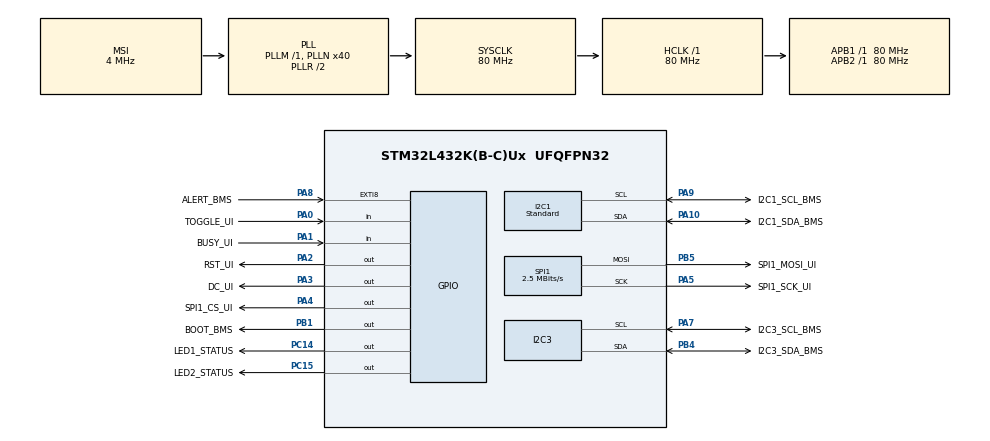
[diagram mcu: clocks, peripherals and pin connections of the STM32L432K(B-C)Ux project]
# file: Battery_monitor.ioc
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I2C1.I2C_Speed_Mode=I2C_Standard
I2C1.OwnAddress=0x08
I2C1.Timing=0x10909CEC
I2C3.Timing=0x10909CEC
Mcu.Family=STM32L4
Mcu.Name=STM32L432K(B-C)Ux
Mcu.Package=UFQFPN32
NVIC.PriorityGroup=NVIC_PRIORITYGROUP_4
NVIC.RTC_WKUP_IRQn=true\:0\:0\:false\:false\:true\:true\:true\:true
PA0.GPIO_Label=TOGGLE_UI
PA0.Signal=GPIO_Input
PA1.GPIO_Label=BUSY_UI
PA1.Signal=GPIO_Input
PA10.GPIO_Label=I2C1_SDA_BMS
PA10.Mode=I2C
PA10.Signal=I2C1_SDA
PA13\ (JTMS-SWDIO).Mode=Trace_Asynchronous_SW
PA13\ (JTMS-SWDIO).Signal=SYS_JTMS-SWDIO
PA14\ (JTCK-SWCLK).Mode=Trace_Asynchronous_SW
PA14\ (JTCK-SWCLK).Signal=SYS_JTCK-SWCLK
PA2.GPIO_Label=RST_UI
PA2.Signal=GPIO_Output
PA3.GPIO_Label=DC_UI
PA3.Signal=GPIO_Output
PA4.GPIO_Label=SPI1_CS_UI
PA4.Signal=GPIO_Output
PA5.GPIO_Label=SPI1_SCK_UI
PA5.GPIO_Mode=GPIO_MODE_AF_PP
PA5.GPIO_Speed=GPIO_SPEED_FREQ_HIGH
PA5.Mode=TX_Only_Simplex_Unidirect_Master
PA5.Signal=SPI1_SCK
PA7.GPIO_Label=I2C3_SCL_BMS
PA7.Mode=I2C
PA7.Signal=I2C3_SCL
PA8.GPIO_Label=ALERT_BMS
PA8.Signal=GPXTI8
PA9.GPIO_Label=I2C1_SCL_BMS
PA9.Mode=I2C
PA9.Signal=I2C1_SCL
PB1.GPIO_Label=BOOT_BMS
PB1.Signal=GPIO_Output
PB3\ (JTDO-TRACESWO).Mode=Trace_Asynchronous_SW
PB3\ (JTDO-TRACESWO).Signal=SYS_JTDO-SWO
PB4\ (NJTRST).GPIO_Label=I2C3_SDA_BMS
PB4\ (NJTRST).Mode=I2C
PB4\ (NJTRST).Signal=I2C3_SDA
PB5.GPIO_Label=SPI1_MOSI_UI
PB5.GPIO_Speed=GPIO_SPEED_FREQ_HIGH
PB5.Mode=TX_Only_Simplex_Unidirect_Master
PB5.Signal=SPI1_MOSI
PC14-OSC32_IN\ (PC14).GPIO_Label=LED1_STATUS
PC14-OSC32_IN\ (PC14).Signal=GPIO_Output
PC15-OSC32_OUT\ (PC15).GPIO_Label=LED2_STATUS
PC15-OSC32_OUT\ (PC15).Signal=GPIO_Output
ProjectManager.HeapSize=0x200
ProjectManager.StackSize=0x400
ProjectManager.TargetToolchain=STM32CubeIDE
RCC.ADCFreq_Value=48000000
RCC.AHBFreq_Value=80000000
RCC.APB1Freq_Value=80000000
RCC.APB1TimFreq_Value=80000000
RCC.APB2Freq_Value=80000000
RCC.APB2TimFreq_Value=80000000
RCC.CortexFreq_Value=80000000
RCC.HCLKFreq_Value=80000000
RCC.HSE_VALUE=16000000
RCC.HSI48_VALUE=48000000
RCC.HSI_VALUE=16000000
RCC.LSE_VALUE=32768
RCC.MSI_VALUE=4000000
RCC.PLLN=40
RCC.PLLSAI1N=24
RCC.SYSCLKFreq_VALUE=80000000
RCC.SYSCLKSource=RCC_SYSCLKSOURCE_PLLCLK
RCC.USBFreq_Value=48000000
RCC.VCOOutputFreq_Value=160000000
RTC.WakeUpCounter=0x4E20
SPI1.BaudRatePrescaler=SPI_BAUDRATEPRESCALER_32
SPI1.CalculateBaudRate=2.5 MBits/s
SPI1.DataSize=SPI_DATASIZE_8BIT
SPI1.Direction=SPI_DIRECTION_2LINES
SPI1.Mode=SPI_MODE_MASTER
SPI1.NSSPMode=SPI_NSS_PULSE_DISABLE
SPI1.VirtualType=VM_MASTER
VP_RTC_VS_RTC_Activate.Mode=RTC_Enabled
VP_RTC_VS_RTC_WakeUp_intern.Mode=WakeUp
board=custom

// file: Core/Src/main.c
/* USER CODE BEGIN Header */
/**
  ******************************************************************************
  * @file           : main.c
  * @brief          : Main program body
  ******************************************************************************
  * @attention
  *
  * Copyright (c) 2022 STMicroelectronics.
  * All rights reserved.
  *
  * This software is licensed under terms that can be found in the LICENSE file
  * in the root directory of this software component.
  * If no LICENSE file comes with this software, it is provided AS-IS.
  *
  ******************************************************************************
  */
/* USER CODE END Header */
#include "main.h"

/* USER CODE BEGIN Includes */
#include "EPD_2in66.h"
#include "GUI_Paint.h"
#include <math.h>
#include <stdio.h>
#include <string.h>
/* USER CODE END Includes */

I2C_HandleTypeDef hi2c1;
I2C_HandleTypeDef hi2c3;

RTC_HandleTypeDef hrtc;

SPI_HandleTypeDef hspi1;

/* USER CODE BEGIN PV */
static const uint8_t BQ76940_ADDR = 0x08<<1;//BMS temp address
static const uint8_t SYS_STAT_REG = 0x00;	//SYS_STAT register
static const uint8_t SYS_CTRL1_REG = 0x04;	//SYS_CTRL1 register
static const uint8_t SYS_CTRL2_REG = 0x05;	//SYS_CTRL2 register
static const uint8_t VC1_HI_REG = 0x0C;	//Needed to start the for() sequence later.
static const uint8_t VC1_LO_REG = 0x0D;	//Needed to start the for() sequence later.
//static const uint8_t VC2_HI = 0x0E;
//static const uint8_t VC2_LO = 0x0F;
//static const uint8_t VC3_HI = 0x10;
//static const uint8_t VC3_LO = 0x11;
//static const uint8_t VC5_HI = 0x14;
//static const uint8_t VC5_LO = 0x15;
//static const uint8_t VC6_HI = 0x16;
//static const uint8_t VC6_LO = 0x17;
//static const uint8_t VC7_HI = 0x18;
//static const uint8_t VC7_LO = 0x19;
//static const uint8_t VC8_HI = 0x1A;
//static const uint8_t VC8_LO = 0x1B;
//static const uint8_t VC10_HI = 0x1E;
//static const uint8_t VC10_LO = 0x1F;
//static const uint8_t VC11_HI = 0x20;
//static const uint8_t VC11_LO = 0x21;
//static const uint8_t VC12_HI = 0x22;
//static const uint8_t VC12_LO = 0x23;
//static const uint8_t VC13_HI = 0x24;
//static const uint8_t VC13_LO = 0x25;
//static const uint8_t VC15_HI = 0x28;
//static const uint8_t VC15_LO = 0x29;
static const uint8_t TS1_HI_REG = 0x2C;		//TS1 register
static const uint8_t TS1_LO_REG = 0x2D;		//TS1 register
static const uint8_t CC_HI_REG = 0x32;		//CC register
static const uint8_t CC_LO_REG = 0x33;		//CC register
static const uint8_t ADCGAIN_REG = 0x50; 	//ADC gain register
static const uint8_t ADCOFFSET_REG = 0x51; 	//ADC offset register

HAL_StatusTypeDef ret;

/* USER CODE END PV */

void SystemClock_Config(void);
static void MX_GPIO_Init(void);
static void MX_I2C1_Init(void);
static void MX_SPI1_Init(void);
static void MX_I2C3_Init(void);
static void MX_RTC_Init(void);
/* USER CODE BEGIN PFP */
float BQ76940_get_cc_current(uint8_t cc_reg_hi, uint8_t cc_reg_lo);
int BQ76940_get_cell_voltage(uint8_t cell_reg_hi, uint8_t cell_reg_lo);
float BQ76940_get_temp(uint8_t temp_reg_hi, uint8_t temp_reg_lo);
void BQ76940_set_register(uint8_t reg, uint8_t reg_val);
void BQ76940_get_register(uint8_t reg, uint8_t* buf);
void BQ76940_get_HILO_register(uint8_t reg, uint8_t* buf);
void BQ76940_SHIPMODE(uint8_t reg1);
/* USER CODE END PFP */

int main(void)
{
  /* USER CODE BEGIN 1 */
	uint8_t buf_ADC_gain[8], buf_ADC_offset[8], buf_cell_volt[64];
//	uint16_t temp_res, temp;
//	float pack_current;
	float pack_voltage;
  /* USER CODE END 1 */

  /* MCU Configuration--------------------------------------------------------*/

  /* Reset of all peripherals, Initializes the Flash interface and the Systick. */
  HAL_Init();

  /* Configure the system clock */
  SystemClock_Config();

  /* Initialize all configured peripherals */
  MX_GPIO_Init();
  MX_I2C1_Init();
  MX_SPI1_Init();
  MX_I2C3_Init();
  MX_RTC_Init();
  /* USER CODE BEGIN 2 */

  //Function needed for checking fail-state registers.
  BQ76940_get_register(ADCGAIN_REG, buf_ADC_gain);
  BQ76940_get_register(ADCOFFSET_REG, buf_ADC_offset);
  BQ76940_set_register(SYS_CTRL1_REG, 0x08);	//Enable temperature measurements (TEMP_SEL = 1)
  BQ76940_set_register(SYS_CTRL2_REG, 0x40);	//Enable CC ALWAYS ON mode (CC_EN = 1)
  HAL_GPIO_WritePin(GPIOA, GPIO_PIN_4, GPIO_PIN_SET);	//Set SPI CS pin high
  EPD_2IN66_Init();	//Initialize the E-paper display
  EPD_2IN66_Clear();
  buf_ADC_gain[0] = (buf_ADC_gain[0]*(10*exp(-6)));
  buf_ADC_offset[0] = (buf_ADC_offset[0]*(10*exp(-3)));

  /* USER CODE END 2 */

  /* Infinite loop */
  /* USER CODE BEGIN WHILE */
  while (1)
  {
	  //Get each cell reading from their respective registers and store the voltage according to ADC gain and offset.
	  for(size_t i = 0; i<16; i++)
	  {
		  buf_cell_volt[i] = BQ76940_get_cell_voltage(VC1_HI_REG + (i*2), VC1_LO_REG + (i*2));
		  buf_cell_volt[i] = ((buf_ADC_gain[0] * buf_cell_volt[i])+buf_ADC_offset[0]);
	  }

	  //calculate pack total voltage from individual cell voltages
	  for(size_t i = 0; i<15; i++)
	  {
		  pack_voltage += buf_cell_volt[i];
	  }

	  //get the equivalent temperature resistance value
	  uint16_t temp_res = BQ76940_get_temp(TS1_HI_REG, TS1_LO_REG);
	  uint16_t temp = ((-26.38*log(temp_res)) + 91.798);	//see excel sheet "NTC103AT_temp_res_correlation" in Oliver/3-Documentation/3-BMS_docs
	  printf("temp: %d\n", temp);

	  float pack_current = BQ76940_get_cc_current(CC_HI_REG, CC_LO_REG);
	  printf("pack current: %d", (uint16_t)pack_current);
    /* USER CODE END WHILE */

  }
}

void SystemClock_Config(void)
{
  RCC_OscInitTypeDef RCC_OscInitStruct = {0};
  RCC_ClkInitTypeDef RCC_ClkInitStruct = {0};

  /** Configure the main internal regulator output voltage
  */
  if (HAL_PWREx_ControlVoltageScaling(PWR_REGULATOR_VOLTAGE_SCALE1) != HAL_OK)
  {
    Error_Handler();
  }

  /** Initializes the RCC Oscillators according to the specified parameters
  * in the RCC_OscInitTypeDef structure.
  */
  RCC_OscInitStruct.OscillatorType = RCC_OSCILLATORTYPE_LSI|RCC_OSCILLATORTYPE_MSI;
  RCC_OscInitStruct.LSIState = RCC_LSI_ON;
  RCC_OscInitStruct.MSIState = RCC_MSI_ON;
  RCC_OscInitStruct.MSICalibrationValue = 0;
  RCC_OscInitStruct.MSIClockRange = RCC_MSIRANGE_6;
  RCC_OscInitStruct.PLL.PLLState = RCC_PLL_ON;
  RCC_OscInitStruct.PLL.PLLSource = RCC_PLLSOURCE_MSI;
  RCC_OscInitStruct.PLL.PLLM = 1;
  RCC_OscInitStruct.PLL.PLLN = 40;
  RCC_OscInitStruct.PLL.PLLP = RCC_PLLP_DIV7;
  RCC_OscInitStruct.PLL.PLLQ = RCC_PLLQ_DIV2;
  RCC_OscInitStruct.PLL.PLLR = RCC_PLLR_DIV2;
  if (HAL_RCC_OscConfig(&RCC_OscInitStruct) != HAL_OK)
  {
    Error_Handler();
  }

  /** Initializes the CPU, AHB and APB buses clocks
  */
  RCC_ClkInitStruct.ClockType = RCC_CLOCKTYPE_HCLK|RCC_CLOCKTYPE_SYSCLK
                              |RCC_CLOCKTYPE_PCLK1|RCC_CLOCKTYPE_PCLK2;
  RCC_ClkInitStruct.SYSCLKSource = RCC_SYSCLKSOURCE_PLLCLK;
  RCC_ClkInitStruct.AHBCLKDivider = RCC_SYSCLK_DIV1;
  RCC_ClkInitStruct.APB1CLKDivider = RCC_HCLK_DIV1;
  RCC_ClkInitStruct.APB2CLKDivider = RCC_HCLK_DIV1;

  if (HAL_RCC_ClockConfig(&RCC_ClkInitStruct, FLASH_LATENCY_4) != HAL_OK)
  {
    Error_Handler();
  }
}

static void MX_I2C1_Init(void)
{

  hi2c1.Instance = I2C1;
  hi2c1.Init.Timing = 0x10909CEC;
  hi2c1.Init.OwnAddress1 = 16;
  hi2c1.Init.AddressingMode = I2C_ADDRESSINGMODE_7BIT;
  hi2c1.Init.DualAddressMode = I2C_DUALADDRESS_DISABLE;
  hi2c1.Init.OwnAddress2 = 0;
  hi2c1.Init.OwnAddress2Masks = I2C_OA2_NOMASK;
  hi2c1.Init.GeneralCallMode = I2C_GENERALCALL_DISABLE;
  hi2c1.Init.NoStretchMode = I2C_NOSTRETCH_DISABLE;
  if (HAL_I2C_Init(&hi2c1) != HAL_OK)
  {
    Error_Handler();
  }

  /** Configure Analogue filter
  */
  if (HAL_I2CEx_ConfigAnalogFilter(&hi2c1, I2C_ANALOGFILTER_ENABLE) != HAL_OK)
  {
    Error_Handler();
  }

  /** Configure Digital filter
  */
  if (HAL_I2CEx_ConfigDigitalFilter(&hi2c1, 0) != HAL_OK)
  {
    Error_Handler();
  }

}

static void MX_I2C3_Init(void)
{

  hi2c3.Instance = I2C3;
  hi2c3.Init.Timing = 0x10909CEC;
  hi2c3.Init.OwnAddress1 = 0;
  hi2c3.Init.AddressingMode = I2C_ADDRESSINGMODE_7BIT;
  hi2c3.Init.DualAddressMode = I2C_DUALADDRESS_DISABLE;
  hi2c3.Init.OwnAddress2 = 0;
  hi2c3.Init.OwnAddress2Masks = I2C_OA2_NOMASK;
  hi2c3.Init.GeneralCallMode = I2C_GENERALCALL_DISABLE;
  hi2c3.Init.NoStretchMode = I2C_NOSTRETCH_DISABLE;
  if (HAL_I2C_Init(&hi2c3) != HAL_OK)
  {
    Error_Handler();
  }

  /** Configure Analogue filter
  */
  if (HAL_I2CEx_ConfigAnalogFilter(&hi2c3, I2C_ANALOGFILTER_ENABLE) != HAL_OK)
  {
    Error_Handler();
  }

  /** Configure Digital filter
  */
  if (HAL_I2CEx_ConfigDigitalFilter(&hi2c3, 0) != HAL_OK)
  {
    Error_Handler();
  }

}

static void MX_RTC_Init(void)
{

  /** Initialize RTC Only
  */
  hrtc.Instance = RTC;
  hrtc.Init.HourFormat = RTC_HOURFORMAT_24;
  hrtc.Init.AsynchPrediv = 127;
  hrtc.Init.SynchPrediv = 255;
  hrtc.Init.OutPut = RTC_OUTPUT_DISABLE;
  hrtc.Init.OutPutRemap = RTC_OUTPUT_REMAP_NONE;
  hrtc.Init.OutPutPolarity = RTC_OUTPUT_POLARITY_HIGH;
  hrtc.Init.OutPutType = RTC_OUTPUT_TYPE_OPENDRAIN;
  if (HAL_RTC_Init(&hrtc) != HAL_OK)
  {
    Error_Handler();
  }

}

static void MX_SPI1_Init(void)
{

  /* SPI1 parameter configuration*/
  hspi1.Instance = SPI1;
  hspi1.Init.Mode = SPI_MODE_MASTER;
  hspi1.Init.Direction = SPI_DIRECTION_2LINES;
  hspi1.Init.DataSize = SPI_DATASIZE_8BIT;
  hspi1.Init.CLKPolarity = SPI_POLARITY_LOW;
  hspi1.Init.CLKPhase = SPI_PHASE_1EDGE;
  hspi1.Init.NSS = SPI_NSS_SOFT;
  hspi1.Init.BaudRatePrescaler = SPI_BAUDRATEPRESCALER_32;
  hspi1.Init.FirstBit = SPI_FIRSTBIT_MSB;
  hspi1.Init.TIMode = SPI_TIMODE_DISABLE;
  hspi1.Init.CRCCalculation = SPI_CRCCALCULATION_DISABLE;
  hspi1.Init.CRCPolynomial = 7;
  hspi1.Init.CRCLength = SPI_CRC_LENGTH_DATASIZE;
  hspi1.Init.NSSPMode = SPI_NSS_PULSE_DISABLE;
  if (HAL_SPI_Init(&hspi1) != HAL_OK)
  {
    Error_Handler();
  }

}

static void MX_GPIO_Init(void)
{
  GPIO_InitTypeDef GPIO_InitStruct = {0};

  /* GPIO Ports Clock Enable */
  __HAL_RCC_GPIOC_CLK_ENABLE();
  __HAL_RCC_GPIOA_CLK_ENABLE();
  __HAL_RCC_GPIOB_CLK_ENABLE();

  /*Configure GPIO pin Output Level */
  HAL_GPIO_WritePin(GPIOC, LED1_STATUS_Pin|LED2_STATUS_Pin, GPIO_PIN_RESET);

  /*Configure GPIO pin Output Level */
  HAL_GPIO_WritePin(GPIOA, RST_UI_Pin|DC_UI_Pin|SPI1_CS_UI_Pin, GPIO_PIN_RESET);

  /*Configure GPIO pin Output Level */
  HAL_GPIO_WritePin(BOOT_BMS_GPIO_Port, BOOT_BMS_Pin, GPIO_PIN_RESET);

  /*Configure GPIO pins : LED1_STATUS_Pin LED2_STATUS_Pin */
  GPIO_InitStruct.Pin = LED1_STATUS_Pin|LED2_STATUS_Pin;
  GPIO_InitStruct.Mode = GPIO_MODE_OUTPUT_PP;
  GPIO_InitStruct.Pull = GPIO_NOPULL;
  GPIO_InitStruct.Speed = GPIO_SPEED_FREQ_LOW;
  HAL_GPIO_Init(GPIOC, &GPIO_InitStruct);

  /*Configure GPIO pins : TOGGLE_UI_Pin BUSY_UI_Pin */
  GPIO_InitStruct.Pin = TOGGLE_UI_Pin|BUSY_UI_Pin;
  GPIO_InitStruct.Mode = GPIO_MODE_INPUT;
  GPIO_InitStruct.Pull = GPIO_NOPULL;
  HAL_GPIO_Init(GPIOA, &GPIO_InitStruct);

  /*Configure GPIO pins : RST_UI_Pin DC_UI_Pin SPI1_CS_UI_Pin */
  GPIO_InitStruct.Pin = RST_UI_Pin|DC_UI_Pin|SPI1_CS_UI_Pin;
  GPIO_InitStruct.Mode = GPIO_MODE_OUTPUT_PP;
  GPIO_InitStruct.Pull = GPIO_NOPULL;
  GPIO_InitStruct.Speed = GPIO_SPEED_FREQ_LOW;
  HAL_GPIO_Init(GPIOA, &GPIO_InitStruct);

  /*Configure GPIO pin : BOOT_BMS_Pin */
  GPIO_InitStruct.Pin = BOOT_BMS_Pin;
  GPIO_InitStruct.Mode = GPIO_MODE_OUTPUT_PP;
  GPIO_InitStruct.Pull = GPIO_NOPULL;
  GPIO_InitStruct.Speed = GPIO_SPEED_FREQ_LOW;
  HAL_GPIO_Init(BOOT_BMS_GPIO_Port, &GPIO_InitStruct);

  /*Configure GPIO pin : ALERT_BMS_Pin */
  GPIO_InitStruct.Pin = ALERT_BMS_Pin;
  GPIO_InitStruct.Mode = GPIO_MODE_IT_RISING;
  GPIO_InitStruct.Pull = GPIO_NOPULL;
  HAL_GPIO_Init(ALERT_BMS_GPIO_Port, &GPIO_InitStruct);

}

/* USER CODE BEGIN 4 */
/**
 * @brief Get current measurements from pack
 * @param cc_reg1: coulomb counter register HI.
 * @param cc_reg2: coulomb counter register LO.
 * @retval float: the
 */
float BQ76940_get_cc_current(uint8_t cc_reg1, uint8_t cc_reg2)
{
	uint16_t val;
	uint8_t buf_cc1[14];
	uint8_t buf_cc2[14];

	//Write BQ76940 Coulomb Counter HI register
	ret = HAL_I2C_Master_Transmit(&hi2c1, BQ76940_ADDR, &cc_reg1, 1, HAL_MAX_DELAY);
	if(ret != HAL_OK){
		strcpy((char*)buf_cc1, "ERROR on TX\r\n");
	} else {

		//Read BQ76940 Coulomb Counter HI register
		ret = HAL_I2C_Master_Receive(&hi2c1, BQ76940_ADDR, buf_cc1, 1, HAL_MAX_DELAY);
		if(ret != HAL_OK){
			strcpy((char*)buf_cc1, "ERROR on RX\r\n");
		}
	}

	//Write BQ76940 Coulomb Counter LO register
	ret = HAL_I2C_Master_Transmit(&hi2c1, BQ76940_ADDR, &cc_reg2, 1, HAL_MAX_DELAY);
	if(ret != HAL_OK){
		strcpy((char*)buf_cc2, "ERROR on TX\r\n");
	} else {

		//Read BQ76940 Coulomb Counter LO register
		ret = HAL_I2C_Master_Receive(&hi2c1, BQ76940_ADDR, buf_cc2, 1, HAL_MAX_DELAY);
		if(ret != HAL_OK){
			strcpy((char*)buf_cc2, "ERROR on RX\r\n");
		} else {
			val = (((uint16_t)buf_cc1[0]<<8) + buf_cc2[0]);
				// Convert to 2's complement, since temperature can be negative
			if ( val > 0x7FF ) {
				val |= 0xF000;
			}
			return ((val*8.44)/(0.8*(10*exp(-3))));
		}
		return 0;
	}
	return 0;
}

/**
  * @brief Get cell values.
  * @param temp_reg_hi: the HI VCx register address.
  * @param temp_reg_lo: the LO VCx register address.
  * @retval float: the cell voltage in mV.
  */
int BQ76940_get_cell_voltage(uint8_t cell_reg_hi, uint8_t cell_reg_lo)
{
	uint16_t val;
	uint8_t buf_cell_hi[14];
	uint8_t buf_cell_lo[14];

	//Write BQ76940 Cell HI register
	ret = HAL_I2C_Master_Transmit(&hi2c1, BQ76940_ADDR, &cell_reg_hi, 1, HAL_MAX_DELAY);
	if(ret != HAL_OK){
		strcpy((char*)buf_cell_hi, "ERROR on TX\r\n");
	} else {

		//Read BQ76940 Cell HI register
		ret = HAL_I2C_Master_Receive(&hi2c1, BQ76940_ADDR, buf_cell_hi, 1, HAL_MAX_DELAY);
		if(ret != HAL_OK){
			strcpy((char*)buf_cell_hi, "ERROR on RX\r\n");
		}
	}

	//Write BQ76940 Cell LO register
	ret = HAL_I2C_Master_Transmit(&hi2c1, BQ76940_ADDR, &cell_reg_lo, 1, HAL_MAX_DELAY);
	if(ret != HAL_OK){
		strcpy((char*)buf_cell_lo, "ERROR on TX\r\n");
	} else {

		//Read BQ76940 Cell LO register
		ret = HAL_I2C_Master_Receive(&hi2c1, BQ76940_ADDR, buf_cell_lo, 1, HAL_MAX_DELAY);
		if(ret != HAL_OK){
			strcpy((char*)buf_cell_lo, "ERROR on RX\r\n");
		}
	}

	val = (((uint16_t)buf_cell_hi[0]<<8) + buf_cell_lo[0]);
	return val;
}

/**
  * @brief Get temperature register values.
  * @param temp_reg_hi: the HI TS register address.
  * @param temp_reg_lo: the LO TS register address.
  * @retval float: the temperature equivalent resistance.
  */
float BQ76940_get_temp(uint8_t temp_reg_hi, uint8_t temp_reg_lo)
{
	uint16_t val_volt, val_res;
	uint8_t buf_temp_hi[14];
	uint8_t buf_temp_lo[14];

	//Write BQ76940 temp HI register
	ret = HAL_I2C_Master_Transmit(&hi2c1, BQ76940_ADDR, &temp_reg_hi, 1, HAL_MAX_DELAY);
	if(ret != HAL_OK){
		strcpy((char*)buf_temp_hi, "ERROR on TX\r\n");
	} else {

		//Read BQ76940 temp HI register
		ret = HAL_I2C_Master_Receive(&hi2c1, BQ76940_ADDR, buf_temp_hi, 1, HAL_MAX_DELAY);
		if(ret != HAL_OK){
			strcpy((char*)buf_temp_hi, "ERROR on RX\r\n");
		}
	}

	//Write BQ76940 temp LO register
	ret = HAL_I2C_Master_Transmit(&hi2c1, BQ76940_ADDR, &temp_reg_lo, 1, HAL_MAX_DELAY);
	if(ret != HAL_OK){
		strcpy((char*)buf_temp_lo, "ERROR on TX\r\n");
	} else {

		//Read BQ76940 temp LO register
		ret = HAL_I2C_Master_Receive(&hi2c1, BQ76940_ADDR, buf_temp_lo, 1, HAL_MAX_DELAY);
		if(ret != HAL_OK){
			strcpy((char*)buf_temp_lo, "ERROR on RX\r\n");
		}
	}

	val_volt = (((uint16_t)buf_temp_hi[0]<<8) + buf_temp_lo[0]);
	val_volt = val_volt*(382*(10*exp(-6)));
	val_res = ((10000 * val_volt) / (3.3 - val_volt));

	return val_res;
}

/**
  * @brief Set register values.
  * @param reg: the register address of register to be changed.
  * @param bit_order: bit value to set register to (example 0b01010101).
  * @retval None
  */
void BQ76940_set_register(uint8_t reg, uint8_t reg_val)
{
	uint8_t buf[14];
	buf[0] = reg;
	buf[1] = reg_val;
	ret = HAL_I2C_Master_Transmit(&hi2c1, BQ76940_ADDR, buf, 2, HAL_MAX_DELAY);
	if(ret != HAL_OK){
		strcpy((char*)buf, "ERROR on TX\r\n");
	}
}

/**
  * @brief Get register values.
  * @param reg: the register address of register to be read.
  * @param buffer: buffer to contain the register data.
  * @retval None
  */
void BQ76940_get_register(uint8_t reg, uint8_t* buffer)
{
	//Write BQ76940 cells according to cell_reg
	ret = HAL_I2C_Master_Transmit(&hi2c1, BQ76940_ADDR, &reg, 1, HAL_MAX_DELAY);
	if(ret != HAL_OK){
		strcpy((char*)buffer, "ERROR on TX\r\n");
	} else {

		//Read BQ76940 cells according to cellbal_reg
		ret = HAL_I2C_Master_Receive(&hi2c1, BQ76940_ADDR, buffer, 1, HAL_MAX_DELAY);
		if(ret != HAL_OK){
			strcpy((char*)buffer, "ERROR on RX\r\n");
		}
	}
}

/**
  * @brief Get HI/LO register values.
  * @param reg: the register address of HI register to be read.
  * @param buffer: buffer to contain the register data.
  * @retval None
  */
void BQ76940_get_HILO_register(uint8_t reg, uint8_t* buf)
{
    ret = HAL_I2C_Master_Transmit(&hi2c1, BQ76940_ADDR, &reg, 1, HAL_MAX_DELAY);
    if(ret != HAL_OK) {
    	strcpy((char*)buf, "ERROR on Tx\r\n");
    } else {

      // Read 2 bytes from the temperature register
      ret = HAL_I2C_Master_Receive(&hi2c1, BQ76940_ADDR, buf, 2, HAL_MAX_DELAY);
      if ( ret != HAL_OK ) {
        strcpy((char*)buf, "ERROR on Rx\r\n");
      } else {

        //Combine the bytes
        buf[2] = ((int16_t)buf[0] << 8) | buf[1];
      }
    }
}

/**
  * @brief Enter SHIP MODE.
  * @param reg: the register address of register SYS_CTRL1.
  * @retval None
  */
void BQ76940_SHIPMODE(uint8_t reg1)
{
	uint8_t buf[14];

	//Write to SYS_CTRL1 register SHUT_A = 0, SHUT_B = 1
	buf[0] = reg1;
	buf[1] = 0x01;
	ret = HAL_I2C_Master_Transmit(&hi2c1, BQ76940_ADDR, buf, 2, HAL_MAX_DELAY);
	if(ret != HAL_OK){
		strcpy((char*)buf, "ERROR on TX\r\n");
	}

	//Write to SYS_CTRL1 register SHUT_A = 1, SHUT_B = 0
	buf[0] = reg1;
	buf[1] = 0x02;
	ret = HAL_I2C_Master_Transmit(&hi2c1, BQ76940_ADDR, buf, 2, HAL_MAX_DELAY);
	if(ret != HAL_OK){
		strcpy((char*)buf, "ERROR on TX\r\n");
	}
}

// EXTI Line9 External Interrupt ISR Handler CallBackFun
void HAL_GPIO_EXTI_Callback(uint16_t GPIO_Pin)
{
    if(GPIO_Pin == GPIO_PIN_8) // If The INT Source Is EXTI Line8 (A8 Pin)
    {
    	uint8_t sys_buf[8];
    	BQ76940_get_register(SYS_STAT_REG, sys_buf);
    }
}
/* USER CODE END 4 */

void Error_Handler(void)
{
  __disable_irq();
  while (1)
  {
  }
}
